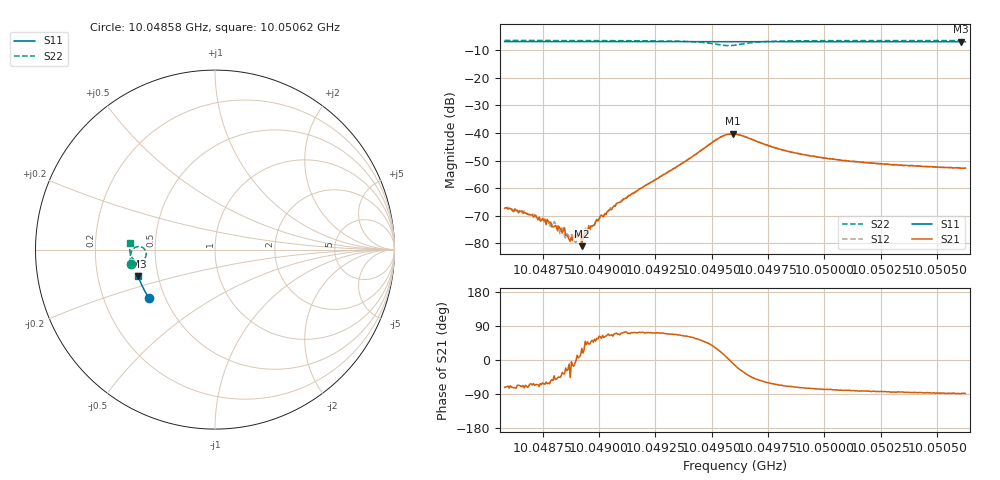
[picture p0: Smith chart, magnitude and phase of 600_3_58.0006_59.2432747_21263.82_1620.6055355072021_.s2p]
#  HZ  S  RI  R  50.00
! Rohde & Schwarz Vector Network Analyzer
! Rohde-Schwarz,ZNB20-2Port,1311601062101988,3.16
! Created: UTC 3/21/2024, 1:17:12 AM
! freq[Hz]  re:S11  im:S11  re:S21  im:S21  re:S12  im:S12  re:S22  im:S22
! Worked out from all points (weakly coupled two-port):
!   401 points, 10.04858 GHz to 10.05062 GHz, reference 50 ohm
!   highest |S21| = -40.27 dB at 10.04959 GHz (marker M1); lowest = -81.0 dB at 10.04892 GHz (marker M2)
!   lowest |S11| = -6.9 dB at 10.0506 GHz (marker M3), VSWR 2.65, Z = 19.3 - j7.25 ohm
!   |S11| at or under -10 dB: nowhere
!   |S22| runs from -8.3 to -6.4 dB; largest |S21 - S12| = 0.00069
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1.0048582e10  -0.369 -0.2679  0.000132 -0.00041  0.000181 -0.00041  -0.4702 -0.0799
1.0048705e10  -0.3732 -0.2611  0.000137 -0.000305  0.000157 -0.000298  -0.4712 -0.0707
1.0048781e10  -0.3761 -0.2568  0.00011 -0.000214  0.00013 -0.000192  -0.4717 -0.0648
1.0048812e10  -0.3773 -0.2552  0.000129 -0.000155  0.000114 -0.000149  -0.4719 -0.0623
1.0048837e10  -0.3782 -0.2537  0.00013 -8.32e-05  0.000138 -0.0001  -0.4721 -0.0602
1.0048863e10  -0.379 -0.2523  0.000119 -5.46e-05  0.000134 -5.61e-05  -0.472 -0.0582
1.0048873e10  -0.3793 -0.2519  7.58e-05 -7.98e-05  0.000106 -2.22e-05  -0.472 -0.0572
1.0048899e10  -0.3802 -0.2502  0.000145 -3.76e-06  0.000104 -4.06e-07  -0.4721 -0.0552
1.0048924e10  -0.3812 -0.2489  7.64e-05 4.54e-05  0.000149 5.58e-05  -0.4722 -0.053
1.0048934e10  -0.3815 -0.2484  0.000125 6.51e-05  0.000132 8.57e-05  -0.4723 -0.0522
1.004896e10  -0.3824 -0.2469  0.000132 0.000123  0.00011 0.000128  -0.4722 -0.0499
1.0049001e10  -0.3838 -0.2446  0.000127 0.000248  0.000134 0.000224  -0.4724 -0.0464
1.0049077e10  -0.3864 -0.2401  0.000169 0.000493  0.000169 0.000493  -0.472 -0.0392
1.0049266e10  -0.3924 -0.2293  0.000501 0.00147  0.000414 0.00151  -0.4681 -0.0176
1.0049532e10  -0.3998 -0.2136  0.00732 0.00346  0.00706 0.00394  -0.4004 0.00945
1.0049593e10  -0.4012 -0.2104  0.00958 -0.00147  0.0097 -0.000822  -0.3854 -0.0371
1.0049603e10  -0.4015 -0.21  0.00933 -0.00239  0.00949 -0.00174  -0.3888 -0.0451
1.0049792e10  -0.4076 -0.1992  0.0022 -0.00474  0.00248 -0.00465  -0.4614 -0.0462
1.0049946e10  -0.4118 -0.1897  0.000963 -0.0037  0.0012 -0.00364  -0.4715 -0.0242
1.0050288e10  -0.4203 -0.169  0.000272 -0.00268  0.000423 -0.0027  -0.4753 0.00895
1.0050604e10  -0.427 -0.1493  4.67e-05 -0.00229  0.000215 -0.00231  -0.4747 0.0332
1.0050625e10  -0.4274 -0.1482  6.93e-05 -0.00231  0.000188 -0.00231  -0.4745 0.0349
